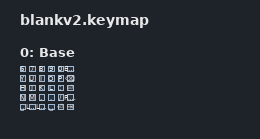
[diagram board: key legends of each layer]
#include <behaviors.dtsi>
#include <dt-bindings/zmk/keys.h>


/ {  
    keymap {
        compatible = "zmk,keymap";

        base_layer {
            display-name = "Base";
            bindings = <
                /* Row 0 */
                &kp N6    &kp N7    &kp N8    &kp N9    &kp N0    &kp ESC

                /* Row 1 */
                &kp Y     &kp U     &kp I     &kp O     &kp P     &kp BSPC

                /* Row 2 */
                &kp H     &kp J     &kp K     &kp L     &kp SEMI  &kp ENTER

                /* Row 3 */
                &kp N     &kp M     &kp COMMA &kp DOT   &kp FSLH  &kp RSHIFT
                
                /* Row 4 */
                &kp SPACE &kp LCTRL &kp LALT  &kp SPACE &kp ENTER &kp TAB
            >;
        };
    };
 };
